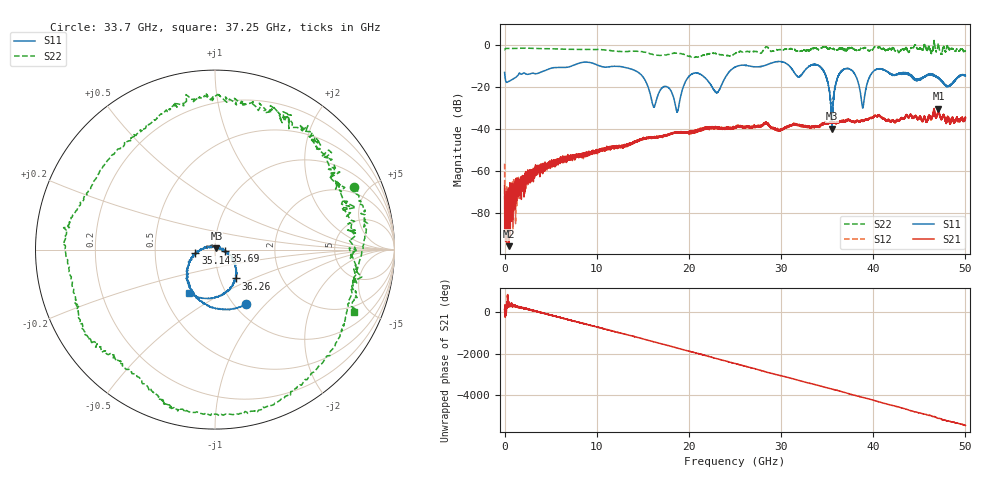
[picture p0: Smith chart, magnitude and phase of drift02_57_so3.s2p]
!Created with skrf (http://scikit-rf.org).
# Hz S RI R 50.0
!freq ReS11 ImS11 ReS21 ImS21 ReS12 ImS12 ReS22 ImS22
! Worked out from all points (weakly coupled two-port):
!   10001 points, 300 kHz to 50 GHz, reference 50 ohm
!   highest |S21| = -30.19 dB at 47.08 GHz (marker M1); lowest = -95.8 dB at 470.3 MHz (marker M2)
!   lowest |S11| = -39.7 dB at 35.54 GHz (marker M3), VSWR 1.02, Z = 50.8 + j0.694 ohm
!   |S11| at or under -10 dB: start of sweep to 7.177 GHz; 12.36 GHz to 25.17 GHz (12.81 GHz wide, 68.3 % of centre); 34.22 GHz to end of sweep (the widest 3 of 17)
!   |S22| runs from -5.7 to 2.4 dB; largest |S21 - S12| = 0.0031
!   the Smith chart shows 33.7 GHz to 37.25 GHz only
!   S11 on the Smith chart (normalised r, x): 33.7 GHz: 1.13, -0.78; 35.14 GHz: 0.80, -0.03; 35.69 GHz: 1.11, -0.02; 36.26 GHz: 1.19, -0.40; 37.25 GHz: 0.67, -0.35
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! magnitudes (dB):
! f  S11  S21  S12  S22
! 300 kHz  -12.9  -66.9  -56.4  -2.1
! 470.3 MHz  -17.2  -95.8  -71.9  -1.5
! 8.335 GHz  -8.2  -52.5  -52.7  -1.9
! 14.03 GHz  -11.7  -46.5  -46.1  -2.8
! 16.15 GHz  -29.2  -43.9  -44.1  -4.4
! 16.67 GHz  -23.4  -43.6  -43.8  -4.7
! 18.74 GHz  -31.7  -41.5  -41.5  -3.7
! 20.24 GHz  -13.9  -41.5  -41.2  -5.4
! 23.04 GHz  -22.6  -39.4  -39.0  -4.1
! 25 GHz  -10.4  -39.1  -39.0  -3.9
! 33.34 GHz  -9.3  -38.8  -38.7  -1.6
! 33.7 GHz  -9.1  -38.6  -38.6  -1.4
! 35.14 GHz  -19.1  -37.1  -37.4  -1.7
! 35.54 GHz  -39.7  -37.1  -36.5  -1.7
! 35.69 GHz  -25.4  -36.5  -36.9  -1.4
! 36.26 GHz  -14.0  -36.7  -36.5  -1.7
! 37.25 GHz  -11.0  -35.6  -35.7  -1.4
! 38.86 GHz  -29.8  -36.3  -36.0  -1.3
! 39.96 GHz  -12.7  -34.3  -34.4  -1.9
! 41.67 GHz  -12.9  -35.4  -35.6  -2.0
! 47.08 GHz  -15.6  -30.2  -30.2  0.9
! 50 GHz  -14.5  -35.0  -34.5  -2.7
